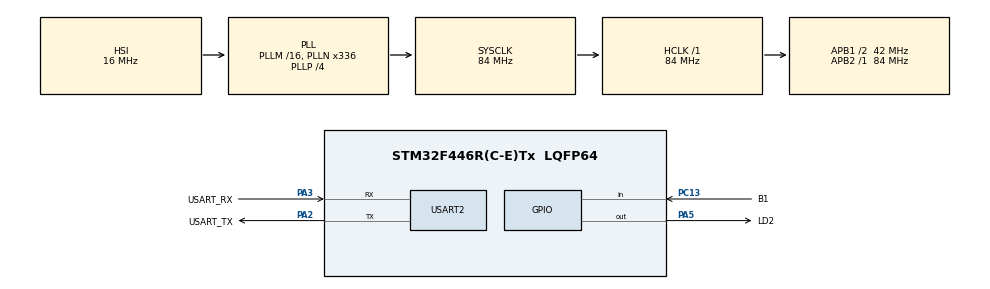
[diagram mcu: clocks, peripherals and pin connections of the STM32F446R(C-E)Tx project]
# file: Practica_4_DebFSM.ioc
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Mcu.Family=STM32F4
Mcu.Name=STM32F446R(C-E)Tx
Mcu.Package=LQFP64
NVIC.PriorityGroup=NVIC_PRIORITYGROUP_0
PA13.GPIO_Label=TMS
PA13.Mode=Serial_Wire
PA13.Signal=SYS_JTMS-SWDIO
PA14.GPIO_Label=TCK
PA14.Mode=Serial_Wire
PA14.Signal=SYS_JTCK-SWCLK
PA2.GPIO_Label=USART_TX
PA2.Mode=Asynchronous
PA2.Signal=USART2_TX
PA3.GPIO_Label=USART_RX
PA3.Mode=Asynchronous
PA3.Signal=USART2_RX
PA5.GPIO_Label=LD2
PA5.Signal=GPIO_Output
PB3.GPIO_Label=SWO
PB3.Signal=SYS_JTDO-SWO
PC13.GPIO_Label=B1
PC13.Signal=GPIO_Input
PC14-OSC32_IN.Mode=LSE-External-Oscillator
PC14-OSC32_IN.Signal=RCC_OSC32_IN
PC15-OSC32_OUT.Mode=LSE-External-Oscillator
PC15-OSC32_OUT.Signal=RCC_OSC32_OUT
PH0-OSC_IN.Mode=HSE-External-Oscillator
PH0-OSC_IN.Signal=RCC_OSC_IN
PH1-OSC_OUT.Mode=HSE-External-Oscillator
PH1-OSC_OUT.Signal=RCC_OSC_OUT
ProjectManager.HeapSize=0x200
ProjectManager.StackSize=0x400
ProjectManager.TargetToolchain=STM32CubeIDE
RCC.48MHZClocksFreq_Value=84000000
RCC.AHBFreq_Value=84000000
RCC.APB1CLKDivider=RCC_HCLK_DIV2
RCC.APB1Freq_Value=42000000
RCC.APB1TimFreq_Value=84000000
RCC.APB2Freq_Value=84000000
RCC.APB2TimFreq_Value=84000000
RCC.CortexFreq_Value=84000000
RCC.FLatency-AdvancedSettings=FLASH_LATENCY_2
RCC.HCLKFreq_Value=84000000
RCC.HSE_VALUE=8000000
RCC.HSI_VALUE=16000000
RCC.PLLN=336
RCC.PLLP=RCC_PLLP_DIV4
RCC.SYSCLKFreq_VALUE=84000000
RCC.SYSCLKSource=RCC_SYSCLKSOURCE_PLLCLK
RCC.USBFreq_Value=168000000
RCC.VCOOutputFreq_Value=336000000
USART2.VirtualMode=VM_ASYNC
board=NUCLEO-F446RE

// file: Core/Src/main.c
/* USER CODE BEGIN Header */
/**
  ******************************************************************************
  * @file           : main.c
  * @brief          : Main program body
  ******************************************************************************
  * @attention
  *
  * Copyright (c) 2025 STMicroelectronics.
  * All rights reserved.
  *
  * This software is licensed under terms that can be found in the LICENSE file
  * in the root directory of this software component.
  * If no LICENSE file comes with this software, it is provided AS-IS.
  *
  ******************************************************************************
  */
/* USER CODE END Header */
#include "main.h"

/* USER CODE BEGIN Includes */
#include "API_delay.h"
/* USER CODE END Includes */

/* USER CODE BEGIN PTD */
// Definición de los estados de la MEF
typedef enum{
    BUTTON_UP,
    BUTTON_FALLING,
    BUTTON_DOWN,
    BUTTON_RISING,
} debounceState_t;
/* USER CODE END PTD */

UART_HandleTypeDef huart2;

/* USER CODE BEGIN PV */
// Variable de estado global para la MEF. 'static' la hace privada a este archivo.
static debounceState_t currentState;

// Variable de retardo para el anti-rebote
static delay_t debounce_delay;

// Definimos el tiempo de anti-rebote
#define DEBOUNCE_TIME_MS 40
/* USER CODE END PV */

void SystemClock_Config(void);
static void MX_GPIO_Init(void);
static void MX_USART2_UART_Init(void);

/* USER CODE BEGIN 0 */
// --- Funciones de Eventos ---
/**
  * @brief  Acción a ejecutar cuando se detecta un flanco descendente confirmado.
  * @retval None
  */
void buttonPressed()
{
    // Enciende el LED
    HAL_GPIO_WritePin(LD2_GPIO_Port, LD2_Pin, GPIO_PIN_SET);
}

/**
  * @brief  Acción a ejecutar cuando se detecta un flanco ascendente confirmado.
  * @retval None
  */
void buttonReleased()
{
    // Apaga el LED
    HAL_GPIO_WritePin(LD2_GPIO_Port, LD2_Pin, GPIO_PIN_RESET);
}

// --- Funciones de la MEF ---
/**
  * @brief  Inicializa la Máquina de Estados Finitos del anti-rebote.
  * @retval None
  */
void debounceFSM_init()
{
    // Estado inicial
    currentState = BUTTON_UP;
    // Inicializa el retardo no bloqueante con el tiempo de debounce
    delayInit(&debounce_delay, DEBOUNCE_TIME_MS);
}

/**
  * @brief  Actualiza la MEF. Debe ser llamada periódicamente.
  * @retval None
  */
void debounceFSM_update()
{
    // Leemos el estado del pin del botón (B1 está en PC13)
    // El botón de la Nucleo es activo en bajo (presionado = 0, liberado = 1)
    bool_t button_is_pressed = (HAL_GPIO_ReadPin(B1_GPIO_Port, B1_Pin) == GPIO_PIN_RESET);

    switch (currentState)
    {
        case BUTTON_UP:
            // Si se presiona el botón, cambiamos al estado de "caída"
            if (button_is_pressed) {
                currentState = BUTTON_FALLING;
            }
            break;

        case BUTTON_FALLING:
            // Esperamos el tiempo de debounce para confirmar que no fue un rebote
            if (delayRead(&debounce_delay))
            {
                // Si pasado el tiempo el botón SIGUE presionado...
                if (button_is_pressed)
                {
                    // ...confirmamos la pulsación, ejecutamos el evento y cambiamos de estado
                    buttonPressed();
                    currentState = BUTTON_DOWN;
                }
                else // Si ya no está presionado, fue un rebote, volvemos a UP
                {
                    currentState = BUTTON_UP;
                }
            }
            break;

        case BUTTON_DOWN:
            // Si se libera el botón, cambiamos al estado de "subida"
            if (!button_is_pressed) {
                currentState = BUTTON_RISING;
            }
            break;

        case BUTTON_RISING:
            // Esperamos el tiempo de debounce para confirmar la liberación
            if (delayRead(&debounce_delay))
            {
                // Si pasado el tiempo el botón SIGUE liberado...
                if (!button_is_pressed)
                {
                    // ...confirmamos la liberación, ejecutamos el evento y cambiamos de estado
                    buttonReleased();
                    currentState = BUTTON_UP;
                }
                else // Si se volvió a presionar, fue un rebote, volvemos a DOWN
                {
                    currentState = BUTTON_DOWN;
                }
            }
            break;

        default:
            // En caso de un estado inválido, reiniciamos la MEF por seguridad
            debounceFSM_init();
            break;
    }
}
/* USER CODE END 0 */

int main(void)
{

  /* MCU Configuration--------------------------------------------------------*/

  /* Reset of all peripherals, Initializes the Flash interface and the Systick. */
  HAL_Init();

  /* Configure the system clock */
  SystemClock_Config();

  /* Initialize all configured peripherals */
  MX_GPIO_Init();
  MX_USART2_UART_Init();
  /* USER CODE BEGIN 2 */
	  // Inicializamos nuestra Máquina de Estados
	  debounceFSM_init();
  /* USER CODE END 2 */

  /* Infinite loop */
	  while (1)
	  {

    /* USER CODE BEGIN 3 */
	    // Llamamos periódicamente a la función que actualiza la MEF
	    debounceFSM_update();

	    // El procesador está libre aquí para hacer otras tareas...
	  }
  /* USER CODE END 3 */
}

void SystemClock_Config(void)
{
  RCC_OscInitTypeDef RCC_OscInitStruct = {0};
  RCC_ClkInitTypeDef RCC_ClkInitStruct = {0};

  /** Configure the main internal regulator output voltage
  */
  __HAL_RCC_PWR_CLK_ENABLE();
  __HAL_PWR_VOLTAGESCALING_CONFIG(PWR_REGULATOR_VOLTAGE_SCALE3);

  /** Initializes the RCC Oscillators according to the specified parameters
  * in the RCC_OscInitTypeDef structure.
  */
  RCC_OscInitStruct.OscillatorType = RCC_OSCILLATORTYPE_HSI;
  RCC_OscInitStruct.HSIState = RCC_HSI_ON;
  RCC_OscInitStruct.HSICalibrationValue = RCC_HSICALIBRATION_DEFAULT;
  RCC_OscInitStruct.PLL.PLLState = RCC_PLL_ON;
  RCC_OscInitStruct.PLL.PLLSource = RCC_PLLSOURCE_HSI;
  RCC_OscInitStruct.PLL.PLLM = 16;
  RCC_OscInitStruct.PLL.PLLN = 336;
  RCC_OscInitStruct.PLL.PLLP = RCC_PLLP_DIV4;
  RCC_OscInitStruct.PLL.PLLQ = 2;
  RCC_OscInitStruct.PLL.PLLR = 2;
  if (HAL_RCC_OscConfig(&RCC_OscInitStruct) != HAL_OK)
  {
    Error_Handler();
  }

  /** Initializes the CPU, AHB and APB buses clocks
  */
  RCC_ClkInitStruct.ClockType = RCC_CLOCKTYPE_HCLK|RCC_CLOCKTYPE_SYSCLK
                              |RCC_CLOCKTYPE_PCLK1|RCC_CLOCKTYPE_PCLK2;
  RCC_ClkInitStruct.SYSCLKSource = RCC_SYSCLKSOURCE_PLLCLK;
  RCC_ClkInitStruct.AHBCLKDivider = RCC_SYSCLK_DIV1;
  RCC_ClkInitStruct.APB1CLKDivider = RCC_HCLK_DIV2;
  RCC_ClkInitStruct.APB2CLKDivider = RCC_HCLK_DIV1;

  if (HAL_RCC_ClockConfig(&RCC_ClkInitStruct, FLASH_LATENCY_2) != HAL_OK)
  {
    Error_Handler();
  }
}

static void MX_USART2_UART_Init(void)
{

  huart2.Instance = USART2;
  huart2.Init.BaudRate = 115200;
  huart2.Init.WordLength = UART_WORDLENGTH_8B;
  huart2.Init.StopBits = UART_STOPBITS_1;
  huart2.Init.Parity = UART_PARITY_NONE;
  huart2.Init.Mode = UART_MODE_TX_RX;
  huart2.Init.HwFlowCtl = UART_HWCONTROL_NONE;
  huart2.Init.OverSampling = UART_OVERSAMPLING_16;
  if (HAL_UART_Init(&huart2) != HAL_OK)
  {
    Error_Handler();
  }

}

static void MX_GPIO_Init(void)
{
  GPIO_InitTypeDef GPIO_InitStruct = {0};

  /* GPIO Ports Clock Enable */
  __HAL_RCC_GPIOC_CLK_ENABLE();
  __HAL_RCC_GPIOH_CLK_ENABLE();
  __HAL_RCC_GPIOA_CLK_ENABLE();
  __HAL_RCC_GPIOB_CLK_ENABLE();

  /*Configure GPIO pin Output Level */
  HAL_GPIO_WritePin(LD2_GPIO_Port, LD2_Pin, GPIO_PIN_RESET);

  /*Configure GPIO pin : B1_Pin */
  GPIO_InitStruct.Pin = B1_Pin;
  GPIO_InitStruct.Mode = GPIO_MODE_INPUT;
  GPIO_InitStruct.Pull = GPIO_NOPULL;
  HAL_GPIO_Init(B1_GPIO_Port, &GPIO_InitStruct);

  /*Configure GPIO pin : LD2_Pin */
  GPIO_InitStruct.Pin = LD2_Pin;
  GPIO_InitStruct.Mode = GPIO_MODE_OUTPUT_PP;
  GPIO_InitStruct.Pull = GPIO_NOPULL;
  GPIO_InitStruct.Speed = GPIO_SPEED_FREQ_LOW;
  HAL_GPIO_Init(LD2_GPIO_Port, &GPIO_InitStruct);

}

void Error_Handler(void)
{
  __disable_irq();
  while (1)
  {
  }
}
